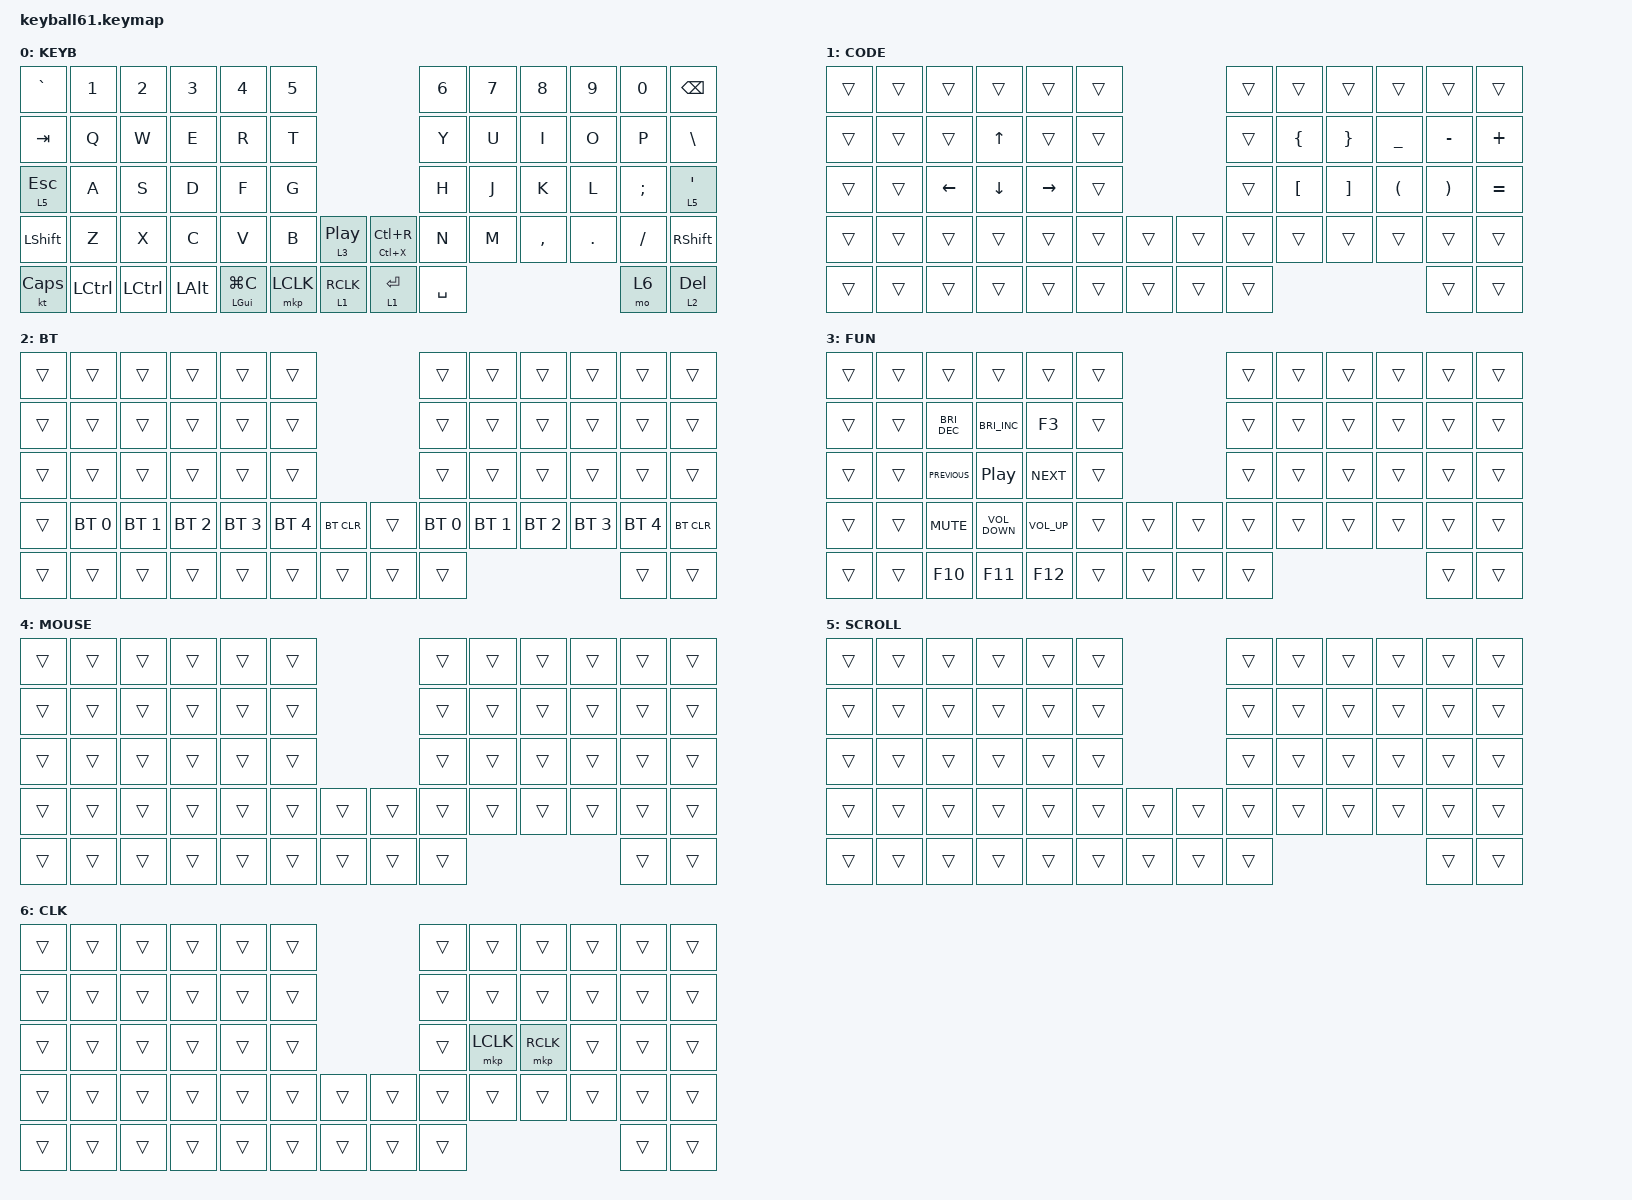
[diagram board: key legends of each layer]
#define DEFAULT 0
#define SYM     1
#define FUN     2
#define MOUSE   3
#define SCROLL  4
#define SNIPE   5

#include <behaviors/mouse_keys.dtsi>
#include <dt-bindings/zmk/mouse.h>
#include <behaviors.dtsi>
#include <dt-bindings/zmk/bt.h>
#include <dt-bindings/zmk/keys.h>
#include <dt-bindings/zmk/pointing.h>

&lt {
    tapping-term-ms = <240>;
    flavor = "balanced";
    quick-tap-ms = <150>;
};

&mt {
    tapping-term-ms = <200>;
    flavor = "hold-preferred";
    quick-tap-ms = <150>;
};

/ {
    combos {
        compatible = "zmk,combos";

        mission_control {
            bindings = <&kp LC(UP_ARROW)>;
            key-positions = <31 33>;
            require-prior-idle-ms = <150>;
        };

        swipe_left {
            bindings = <&kp LC(RIGHT)>;
            key-positions = <31 32>;
            require-prior-idle-ms = <150>;
        };

        swipe_right {
            bindings = <&kp LC(LEFT)>;
            key-positions = <32 33>;
            require-prior-idle-ms = <150>;
        };

        copy {
            bindings = <&kp LG(C)>;
            key-positions = <26 27>;
            require-prior-idle-ms = <150>;
        };

        paste {
            bindings = <&kp LG(V)>;
            key-positions = <27 28>;
            require-prior-idle-ms = <150>;
        };

        cut {
            bindings = <&kp LG(X)>;
            key-positions = <28 26>;
            require-prior-idle-ms = <150>;
        };

        screenshot {
            bindings = <&kp LG(LS(NUMBER_4))>;
            key-positions = <45 48>;
            require-prior-idle-ms = <150>;
        };

        screenshot_options {
            bindings = <&kp LG(LS(N5))>;
            key-positions = <45 49>;
            require-prior-idle-ms = <150>;
        };

        left_click {
            bindings = <&mkp LCLK>;
            key-positions = <31 34>;
            require-prior-idle-ms = <150>;
        };

        right_click {
            bindings = <&mkp RCLK>;
            key-positions = <31 35>;
            require-prior-idle-ms = <150>;
        };

        undo {
            bindings = <&kp LG(Z)>;
            key-positions = <38 39>;
            require-prior-idle-ms = <150>;
        };

        redo {
            bindings = <&kp LG(LS(Z))>;
            key-positions = <39 40>;
            require-prior-idle-ms = <150>;
        };
    };

    behaviors {
        layer_mouse: layer_mouse {
            compatible = "zmk,behavior-hold-tap";
            label = "LAYER_MOUSE";
            bindings = <&mo>, <&mkp>;

            #binding-cells = <2>;
            tapping-term-ms = <240>;
            hold-while-undecided;
        };

        mouse_tap: mouse_tap {
            compatible = "zmk,behavior-hold-tap";
            label = "MOUSE_TAP";
            bindings = <&mkp>, <&kp>;

            #binding-cells = <2>;
            tapping-term-ms = <240>;
            flavor = "tap-preferred";
        };

        fast_tap_mod: fast_tap_mod {
            compatible = "zmk,behavior-hold-tap";
            label = "FAST_TAP_MOD";
            bindings = <&kp>, <&kp>;

            #binding-cells = <2>;
            tapping-term-ms = <100>;
        };

        fast_tap_instant_layer: fast_tap_instant_layer {
            compatible = "zmk,behavior-hold-tap";
            label = "FAST_TAP_INSTANT_LAYER";
            bindings = <&mo>, <&kp>;

            #binding-cells = <2>;
            tapping-term-ms = <150>;
            hold-while-undecided;
        };

        layer_tap_as_mod: layer_tap_as_mod {
            compatible = "zmk,behavior-hold-tap";
            label = "LAYER_TAP_AS_MOD";
            bindings = <&mo>, <&kp>;

            #binding-cells = <2>;
            tapping-term-ms = <240>;
            hold-while-undecided;
            flavor = "tap-preferred";
        };
    };

    keymap {
        compatible = "zmk,keymap";

        default_layer {
            label = "KEYB";
            bindings = <
&kp GRAVE                   &kp N1     &kp N2            &kp N3        &kp N4          &kp N5                                                            &kp N6     &kp N7  &kp N8     &kp N9   &kp N0         &kp BSPC
&kp TAB                     &kp Q      &kp W             &kp E         &kp R           &kp T                                                             &kp Y      &kp U   &kp I      &kp O    &kp P          &kp BACKSLASH
&layer_tap_as_mod 5 ESCAPE  &kp A      &kp S             &kp D         &kp F           &kp G                                                             &kp H      &kp J   &kp K      &kp L    &kp SEMICOLON  &layer_tap_as_mod 5 APOSTROPHE
&kp LEFT_SHIFT              &kp Z      &kp X             &kp C         &kp V           &kp B      &lt 3 C_PP           &mt LC(X) LC(R)                   &kp N      &kp M   &kp COMMA  &kp DOT  &kp SLASH      &kp RIGHT_SHIFT
&kt CAPS                    &kp LCTRL  &kp LEFT_CONTROL  &kp LEFT_ALT  &mt LGUI LG(C)  &mkp LCLK  &layer_mouse 1 RCLK  &fast_tap_instant_layer 1 RETURN  &kp SPACE                              &mo 6          &lt 2 DELETE
            >;
        };

        code_layer {
            bindings = <
&trans  &trans  &trans          &trans          &trans     &trans                  &trans  &trans            &trans             &trans                &trans                 &trans
&trans  &trans  &trans          &kp UP_ARROW    &trans     &trans                  &trans  &kp LEFT_BRACE    &kp RIGHT_BRACE    &kp UNDERSCORE        &kp MINUS              &kp PLUS
&trans  &trans  &kp LEFT_ARROW  &kp DOWN_ARROW  &kp RIGHT  &trans                  &trans  &kp LEFT_BRACKET  &kp RIGHT_BRACKET  &kp LEFT_PARENTHESIS  &kp RIGHT_PARENTHESIS  &kp EQUAL
&trans  &trans  &trans          &trans          &trans     &trans  &trans  &trans  &trans  &trans            &trans             &trans                &trans                 &trans
&trans  &trans  &trans          &trans          &trans     &trans  &trans  &trans  &trans                                                             &trans                 &trans
            >;

            label = "CODE";
        };

        bluetooth_layer {
            label = "BT";
            bindings = <
&trans  &trans        &trans        &trans        &trans        &trans                            &trans        &trans        &trans        &trans        &trans        &trans
&trans  &trans        &trans        &trans        &trans        &trans                            &trans        &trans        &trans        &trans        &trans        &trans
&trans  &trans        &trans        &trans        &trans        &trans                            &trans        &trans        &trans        &trans        &trans        &trans
&trans  &bt BT_SEL 0  &bt BT_SEL 1  &bt BT_SEL 2  &bt BT_SEL 3  &bt BT_SEL 4  &bt BT_CLR  &trans  &bt BT_SEL 0  &bt BT_SEL 1  &bt BT_SEL 2  &bt BT_SEL 3  &bt BT_SEL 4  &bt BT_CLR
&trans  &trans        &trans        &trans        &trans        &trans        &trans      &trans  &trans                                                  &trans        &trans
            >;
        };

        function_layer {
            label = "FUN";
            bindings = <
&trans  &trans  &trans                &trans                &trans           &trans                  &trans  &trans  &trans  &trans  &trans  &trans
&trans  &trans  &kp C_BRIGHTNESS_DEC  &kp C_BRIGHTNESS_INC  &kp F3           &trans                  &trans  &trans  &trans  &trans  &trans  &trans
&trans  &trans  &kp C_PREVIOUS        &kp C_PLAY_PAUSE      &kp C_NEXT       &trans                  &trans  &trans  &trans  &trans  &trans  &trans
&trans  &trans  &kp C_MUTE            &kp C_VOLUME_DOWN     &kp C_VOLUME_UP  &trans  &trans  &trans  &trans  &trans  &trans  &trans  &trans  &trans
&trans  &trans  &kp F10               &kp F11               &kp F12          &trans  &trans  &trans  &trans                          &trans  &trans
            >;
        };

        mouse_layer {
            label = "MOUSE";
            bindings = <
&trans  &trans  &trans  &trans  &trans  &trans                  &trans  &trans  &trans  &trans  &trans  &trans
&trans  &trans  &trans  &trans  &trans  &trans                  &trans  &trans  &trans  &trans  &trans  &trans
&trans  &trans  &trans  &trans  &trans  &trans                  &trans  &trans  &trans  &trans  &trans  &trans
&trans  &trans  &trans  &trans  &trans  &trans  &trans  &trans  &trans  &trans  &trans  &trans  &trans  &trans
&trans  &trans  &trans  &trans  &trans  &trans  &trans  &trans  &trans                          &trans  &trans
            >;
        };

        scroll_layer {
            label = "SCROLL";
            bindings = <
&trans  &trans  &trans  &trans  &trans  &trans                  &trans  &trans  &trans  &trans  &trans  &trans
&trans  &trans  &trans  &trans  &trans  &trans                  &trans  &trans  &trans  &trans  &trans  &trans
&trans  &trans  &trans  &trans  &trans  &trans                  &trans  &trans  &trans  &trans  &trans  &trans
&trans  &trans  &trans  &trans  &trans  &trans  &trans  &trans  &trans  &trans  &trans  &trans  &trans  &trans
&trans  &trans  &trans  &trans  &trans  &trans  &trans  &trans  &trans                          &trans  &trans
            >;
        };

        click_layer {
            bindings = <
&trans  &trans  &trans  &trans  &trans  &trans                  &trans  &trans     &trans     &trans  &trans  &trans
&trans  &trans  &trans  &trans  &trans  &trans                  &trans  &trans     &trans     &trans  &trans  &trans
&trans  &trans  &trans  &trans  &trans  &trans                  &trans  &mkp LCLK  &mkp RCLK  &trans  &trans  &trans
&trans  &trans  &trans  &trans  &trans  &trans  &trans  &trans  &trans  &trans     &trans     &trans  &trans  &trans
&trans  &trans  &trans  &trans  &trans  &trans  &trans  &trans  &trans                                &trans  &trans
            >;

            label = "CLK";
        };
    };
};
